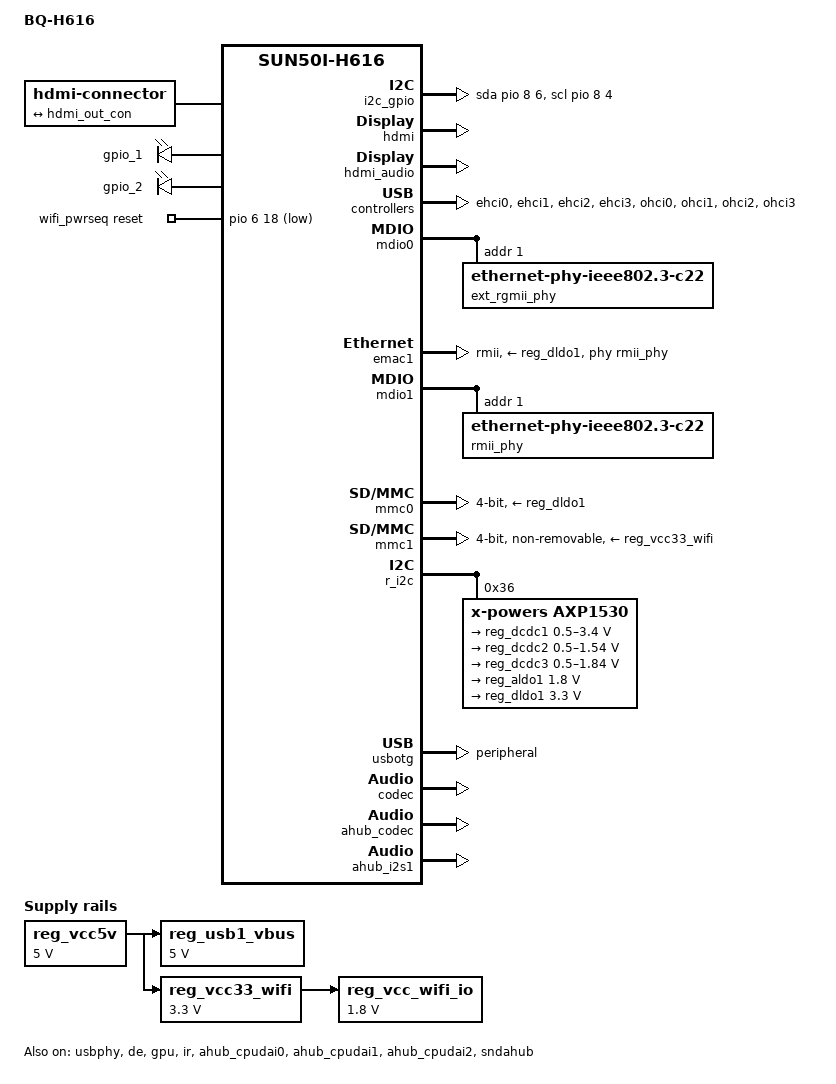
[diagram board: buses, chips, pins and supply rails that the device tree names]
// SPDX-License-Identifier: (GPL-2.0+ or MIT)
/*
 * Copyright (C) 2020 Arm Ltd.
 */

/dts-v1/;

#include "sun50i-h616.dtsi"

#include <dt-bindings/gpio/gpio.h>
#include <dt-bindings/interrupt-controller/arm-gic.h>
#include <dt-bindings/leds/common.h>
#include "sun50i-h616-cpu-opp.dtsi"

/ {
	model = "BQ-H616";
	compatible = "allwinner,sun50i-h616";

	aliases {
        ethernet0 = &emac1;
		// ethernet0 = &emac0;
		serial0 = &uart0;
	};

	chosen {
		stdout-path = "serial0:115200n8";
	};

	connector {
		compatible = "hdmi-connector";
		type = "d";

		port {
			hdmi_con_in: endpoint {
				remote-endpoint = <&hdmi_out_con>;
			};
		};
	};

	leds {
		compatible = "gpio-leds";
        
		led-0 {
			function = LED_FUNCTION_POWER;
			color = <LED_COLOR_ID_RED>;
            gpios = <&pio 8 7 GPIO_ACTIVE_HIGH>; /* PI7 */
            status = "disabled";
		};

		led-1 {
			function = LED_FUNCTION_STATUS;
			color = <LED_COLOR_ID_GREEN>;
            gpio = <&pio 7 5 GPIO_ACTIVE_HIGH>; /* PH5 */
			default-state = "on";
            status = "disabled";
		};

        gpio_1 {
			function = "wifi_power";
            gpio = <&pio 5 6 GPIO_ACTIVE_LOW>; /* PF6 */
            status = "okay";
		};

        gpio_2 {
			function = "wifi_wake";
            gpio = <&pio 6 15 GPIO_ACTIVE_LOW>; /* PG15 */
            status = "okay";
		};
	};

    ws2812 {
		compatible = "rgb-ws2812";
		pinctrl-names = "default";
		status = "okay";

		ws2812_pin@0 {
            // gpios = <&pio 7 5 GPIO_ACTIVE_LOW>;
            gpios = <&pio 8 15 GPIO_ACTIVE_LOW>;
            label = "ws2812";
            linux,default-trigger = "heartbeat";
            linux,default-trigger-delay-ms = <0>;
		};
    };

    mcp2515_clock: mcp2515_clock {
		compatible = "fixed-clock";
		#clock-cells = <0>;
		clock-frequency  = <12000000>;          //对应模块上晶振的频率
	};

    i2c_gpio: i2c-gpio {
        #address-cells = <1>;
        #size-cells = <0>;
        compatible = "i2c-gpio";

        status = "okay";

        gpios = <&pio 8 6 GPIO_ACTIVE_HIGH>, /* sda  PI6 */
                <&pio 8 4 GPIO_ACTIVE_HIGH>; /* scl  PI4 */

        // 通常，sda-open-drain不需要打开，但如果该gpio为开漏模式，则一定要打开才可以正常读取数据.
        // i2c-gpio,sda-open-drain;
        // i2c-gpio,scl-open-drain;
        
        i2c-gpio,delay-us = <5>; /* 100 kHz */
        
        tft_tp: ns2009@48 {
            compatible = "ns2009";
            reg = <0x48>;
            status = "disabled";
        };

        light: bh1750@5c {
            compatible = "rohm,bh1750";
            reg = <0x5c>;
            status = "disabled";
        };
    };

	reg_vcc5v: vcc5v {
		/* board wide 5V supply directly from the USB-C socket */
		compatible = "regulator-fixed";
		regulator-name = "vcc-5v";
		regulator-min-microvolt = <5000000>;
		regulator-max-microvolt = <5000000>;
		regulator-always-on;
	};

	reg_usb1_vbus: usb1-vbus {
		compatible = "regulator-fixed";
		regulator-name = "usb1-vbus";
		regulator-min-microvolt = <5000000>;
		regulator-max-microvolt = <5000000>;
		vin-supply = <&reg_vcc5v>;
		enable-active-high;
		// gpio = <&pio 2 16 GPIO_ACTIVE_HIGH>;    /* PC16 */
		status = "okay";
	};

	reg_vcc33_wifi: vcc33-wifi {
		/* Always on 3.3V regulator for WiFi and BT */
		compatible = "regulator-fixed";
		regulator-name = "vcc33-wifi";
		regulator-min-microvolt = <3300000>;
		regulator-max-microvolt = <3300000>;
		regulator-always-on;
		vin-supply = <&reg_vcc5v>;
	};

	reg_vcc_wifi_io: vcc-wifi-io {
		/* Always on 1.8V/300mA regulator for WiFi and BT IO */
		compatible = "regulator-fixed";
		regulator-name = "vcc-wifi-io";
		regulator-min-microvolt = <1800000>;
		regulator-max-microvolt = <1800000>;
		regulator-always-on;
		vin-supply = <&reg_vcc33_wifi>;
	};

	wifi_pwrseq: wifi-pwrseq {
		compatible = "mmc-pwrseq-simple";
		clocks = <&rtc 1>;
		clock-names = "osc32k-out";
		reset-gpios = <&pio 6 18 GPIO_ACTIVE_LOW>;  /* PG18 */
		post-power-on-delay-ms = <200>;
	};
};

&usbphy {
	usb1_vbus-supply = <&reg_usb1_vbus>;
	status = "okay";
};

&de {
	status = "okay";
};

&hdmi {
	hvcc-supply = <&reg_aldo1>;
    status = "okay";
};

&hdmi_audio {
	status = "okay";
};

&hdmi_out {
	hdmi_out_con: endpoint {
		remote-endpoint = <&hdmi_con_in>;
	};
};

&gpu {
    mali-supply = <&reg_dcdc3>;
    status = "okay";
};

&ehci0 {
	status = "okay";
};

&ehci1 {
	status = "okay";
};

&ehci2 {
	status = "okay";
};

&ehci3 {
	status = "okay";
};

/* USB 2 & 3 are on headers only. */

&emac0 {
	pinctrl-names = "default";
	pinctrl-0 = <&ext_rgmii_pins>;
	phy-mode = "rgmii";
	phy-handle = <&ext_rgmii_phy>;
    phy-supply = <&reg_dldo1>;
	allwinner,rx-delay-ps = <3100>;
	allwinner,tx-delay-ps = <700>;
	// status = "okay";
    status = "disabled";
};

&mdio0 {
	ext_rgmii_phy: ethernet-phy@1 {
		compatible = "ethernet-phy-ieee802.3-c22";
		reg = <1>;
	};
};

&emac1 {
	pinctrl-names = "default";
	pinctrl-0 = <&rmii_pins>;
	phy-mode = "rmii";
	phy-handle = <&rmii_phy>;
	phy-supply = <&reg_dldo1>;
	allwinner,rx-delay-ps = <3100>;
	allwinner,tx-delay-ps = <700>;
	status = "okay";
};

&mdio1 {
	rmii_phy: ethernet-phy@1 {
		compatible = "ethernet-phy-ieee802.3-c22";
		reg = <1>;
	};
};

/*------------------------------------*/

&mmc0 {
    vmmc-supply = <&reg_dldo1>;

	// cd-gpios = <&pio 5 6 GPIO_ACTIVE_LOW>;	/* PF6 */
    no-1-8-v;
	bus-width = <4>;
	status = "okay";
};

&mmc1 {
	vmmc-supply = <&reg_vcc33_wifi>;
	vqmmc-supply = <&reg_vcc_wifi_io>;
	mmc-pwrseq = <&wifi_pwrseq>;
	bus-width = <4>;
	non-removable;
	mmc-ddr-1_8v;
	status = "okay";
};

&mmc2 {
    vmmc-supply = <&reg_dldo1>;

    no-1-8-v;
	bus-width = <8>;
    non-removable;
	// status = "okay";
    status = "disabled";
};

&ohci0 {
	status = "okay";
};

&ohci1 {
	status = "okay";
};

&ohci2 {
	status = "okay";
};

&ohci3 {
	status = "okay";
};

&r_i2c {
	status = "okay";

    axp1530: pmic@36 {
		compatible = "x-powers,axp1530";
        status = "okay";
		reg = <0x36>;
		wakeup-source;

		standby_param: standby_param {
			vcc-dram = <0x4>;
		};

		regulators{
			reg_dcdc1: dcdc1 {
				regulator-name = "axp1530-dcdc1";
				regulator-min-microvolt = <500000>;
				regulator-max-microvolt = <3400000>;
				regulator-step-delay-us = <25>;
				regulator-final-delay-us = <50>;
				regulator-always-on;
			};

			reg_dcdc2: dcdc2 {
				regulator-name = "axp1530-dcdc2";
				regulator-min-microvolt = <500000>;
				regulator-max-microvolt = <1540000>;
				regulator-step-delay-us = <25>;
				regulator-final-delay-us = <50>;
				regulator-ramp-delay = <200>; // FIXME
				regulator-always-on;
			};

			reg_dcdc3: dcdc3 {
				regulator-name = "axp1530-dcdc3";
				regulator-min-microvolt = <500000>;
				regulator-max-microvolt = <1840000>;
				regulator-step-delay-us = <25>;
				regulator-final-delay-us = <50>;
				regulator-always-on;
			};

			reg_aldo1: ldo1 {
				regulator-name = "axp1530-aldo1";
				regulator-min-microvolt = <1800000>;
				regulator-max-microvolt = <1800000>;
				regulator-step-delay-us = <25>;
				regulator-final-delay-us = <50>;
				regulator-always-on;
			};

			reg_dldo1: ldo2 {
				regulator-name = "axp1530-dldo1";
				regulator-min-microvolt = <3300000>;
				regulator-max-microvolt = <3300000>;
				regulator-step-delay-us = <25>;
				regulator-final-delay-us = <50>;
				regulator-always-on;
			};
		};
	};
};

&spi1 {
    #address-cells = <1>;
    #size-cells = <0>;
    pinctrl-names = "default";

    pinctrl-0 = <&spi1_pins>;
    cs-gpios = <&pio 8 5 GPIO_ACTIVE_HIGH>,    /* PI5 */ 
                <&pio 8 14 GPIO_ACTIVE_HIGH>;    /* PI14 */

    status = "disabled";
    
    can: mcp2515@0 {
        compatible = "microchip,mcp2515";
        clocks = <&mcp2515_clock>;
        status = "disabled";
        
        reg = <0x0>;
        spi-max-frequency = <1000000>;

        interrupt-parent = <&pio>;
        interrupts = <8 3 IRQ_TYPE_EDGE_FALLING>;   /* PI3 */
        
        vdd-supply = <&reg_vcc33_wifi>;
        xceiver-supply = <&reg_vcc33_wifi>;
    };

    tft_35: st7796@1 {
        compatible = "sitronix,st7796";
        status = "disabled";

        reg = <0x1>;
        spi-max-frequency = <50000000>;
        fps = <60>;
        rotate = <0>;
        buswidth = <8>;
        width = <480>;
        height = <320>;
        bpp = <24>;
        bgr;
        regwidth = <8>;
        debug = <0x00>;     //0x20 show fps
    };
};

&uart0 {
	pinctrl-names = "default";
	pinctrl-0 = <&uart0_ph_pins>;
	status = "disabled";
    // status = "okay";
};

&usbotg {
	/*
	 * PHY0 pins are connected to a USB-C socket, but a role switch
	 * is not implemented: both CC pins are pulled to GND.
	 * The VBUS pins power the device, so a fixed peripheral mode
	 * is the best choice.
	 * The board can be powered via GPIOs, in this case port0 *can*
	 * act as a host (with a cable/adapter ignoring CC), as VBUS is
	 * then provided by the GPIOs. Any user of this setup would
	 * need to adjust the DT accordingly: dr_mode set to "host",
	 * enabling OHCI0 and EHCI0.
	 */
	dr_mode = "peripheral";
	status = "okay";
};

&ir {
	pinctrl-names = "default";
	pinctrl-0 = <&ir_rx_pin>;
	status = "okay";
};

&codec {
    allwinner,audio-routing =
        "Line Out", "LINEOUT";
    status = "okay";
};

&ahub_codec {
	status = "okay";
};

&cpu0 {
    cpu-supply = <&reg_dcdc2>;
};

&ahub_cpudai0 {
	status = "okay";
};

&ahub_cpudai1 {
	status = "okay";
};

&ahub_cpudai2 {
	status = "okay";
};

&sndahub {
	status = "okay";
};

&ahub_i2s1 {
	status = "okay";
};
